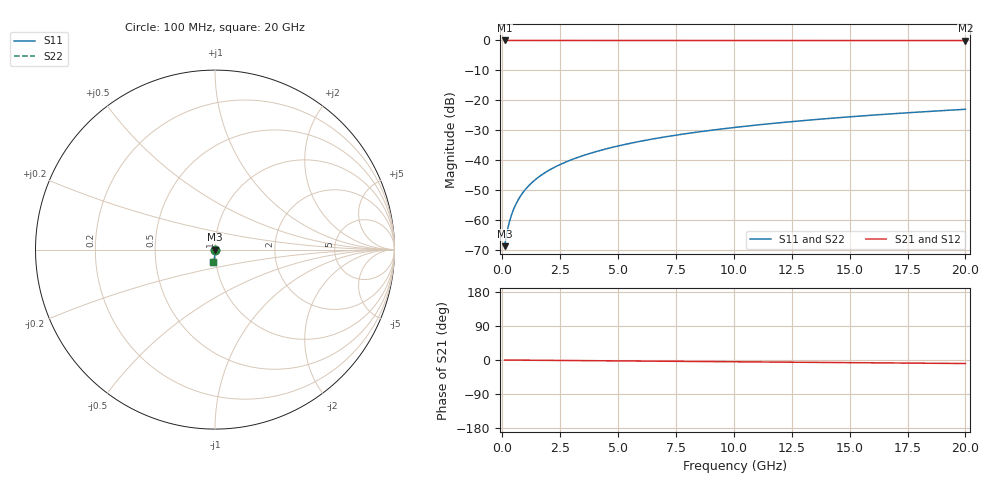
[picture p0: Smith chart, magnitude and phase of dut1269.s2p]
! Touchstone file exported from HFSS 2026.1.0
!  File:  C:/ffzhzh/LocalFiles/Ansys_Project_Files/temp_train_TSV_1269_1783194093_43440.aedt
!  Generated:  03:43:08 AM Jul  5, 2026
!  Design:  TSV
!  Project:  temp_train_TSV_1269_1783194093_43440
! Variables:
!  h_bsmrdl = 2um
!  h_ox = 20um
!  h_rdl = 5um
!  h_sub = 91.26um
!  h_tmrdl = 5um
!  h_tsv = 91.26um
!  h_via = 3um
!  l_bsmrdl = 300um
!  l_sub = 415.2um
!  l_tmrdl = 200um
!  m_sub = 200um
!  pitch = 20.9um
!  r_tsv = 7.6um
!  s_tmrdl = 10um
!  w_bsmrdl = 18um
!  w_sub = 500um
!  w_tmrdl = 12um
!  x_tsv_center1 = 206um
!  x_tsv_center2 = 524um
!  x_tsv_center3 = 736um
!  x_tsv_center4 = 1054um
!  x_tsv_center5 = 1266um
!  x_tsv_center6 = 1584um
# GHz S MA R 50.000000
! Terminal data exported
! Port[1] = TSV1_1_T1
! Port[2] = TSV1_1_T2
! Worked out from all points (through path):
!   200 points, 100 MHz to 20 GHz, reference 50 ohm
!   highest |S21| = 0.00 dB at 100 MHz (marker M1); lowest = 0.0 dB at 20 GHz (marker M2)
!   group delay of S21, straight-line fit = 1.28 ps
!   lowest |S11| = -68.7 dB at 100 MHz (marker M3), VSWR 1.00, Z = 50 - j0.0281 ohm
!   |S11| at or under -10 dB: start of sweep to end of sweep
!   |S22| runs from -68.7 to -23.0 dB; largest |S21 - S12| = 3e-15
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0.1  0.0003673 -49.8  0.9998 -0.1  0.9998 -0.1  0.0003673 -49.8
! Gamma 0 0 0 0
! Port Impedance 50 0 50 0
0.2  0.0006261 -65.3  0.9997 -0.1  0.9997 -0.1  0.0006261 -65.3
0.3  0.0009184 -71.1  0.9997 -0.2  0.9997 -0.2  0.0009184 -71.1
0.4  0.00123 -74.1  0.9997 -0.2  0.9997 -0.2  0.00123 -74.1
0.5  0.001554 -76.0  0.9996 -0.2  0.9996 -0.2  0.001554 -76.0
0.7  0.002226 -78.5  0.9995 -0.3  0.9995 -0.3  0.002226 -78.5
0.8  0.00257 -79.5  0.9995 -0.4  0.9995 -0.4  0.00257 -79.5
1  0.003262 -81.0  0.9995 -0.5  0.9995 -0.5  0.003262 -81.0
1.2  0.003957 -82.2  0.9994 -0.6  0.9994 -0.6  0.003957 -82.2
1.4  0.004654 -83.1  0.9994 -0.7  0.9994 -0.7  0.004654 -83.1
1.7  0.005698 -84.2  0.9993 -0.8  0.9993 -0.8  0.005698 -84.2
2  0.006744 -85.0  0.9993 -1.0  0.9993 -1.0  0.006744 -85.0
2.7  0.009187 -86.4  0.9992 -1.3  0.9992 -1.3  0.009187 -86.4
3.5  0.01199 -87.4  0.999 -1.7  0.999 -1.7  0.01199 -87.4
4.2  0.01446 -88.1  0.9989 -2.0  0.9989 -2.0  0.01446 -88.1
5  0.0173 -88.8  0.9988 -2.4  0.9988 -2.4  0.0173 -88.8
6.8  0.02371 -90.1  0.9984 -3.2  0.9984 -3.2  0.02371 -90.1
8.3  0.02908 -91.1  0.9982 -3.9  0.9982 -3.9  0.02908 -91.1
10.1  0.03553 -92.2  0.9978 -4.7  0.9978 -4.7  0.03553 -92.2
13.4  0.04734 -94.1  0.9971 -6.2  0.9971 -6.2  0.04734 -94.1
16.7  0.05913 -95.8  0.9962 -7.8  0.9962 -7.8  0.05913 -95.8
20  0.0709 -97.5  0.9952 -9.3  0.9952 -9.3  0.0709 -97.5
